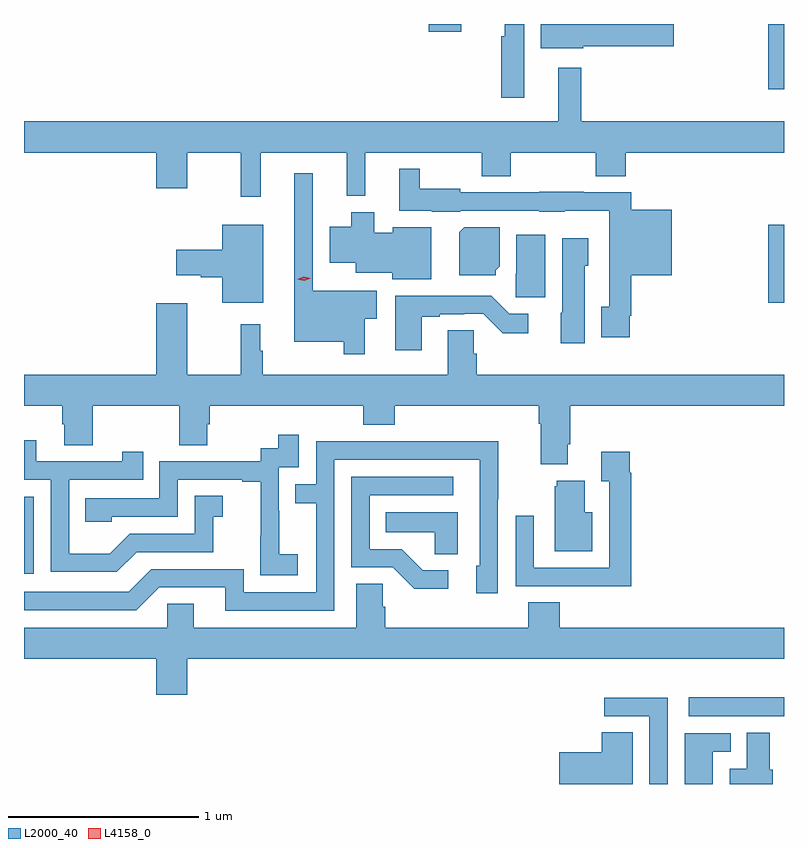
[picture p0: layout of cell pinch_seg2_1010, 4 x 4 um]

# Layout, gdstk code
import gdstk
lib = gdstk.Library(unit=1e-6, precision=1e-09)
def R(c, l, rs):  # rectangles x0, y0, x1, y1
    for r in rs: c.add(gdstk.rectangle(r[:2], r[2:], *l))
def P(c, l, *ps):  # polygons
    for p in ps: c.add(gdstk.Polygon(p, *l))
L2000_40 = (2000, 40)
L4158_0 = (4158, 0)

pinch_seg2_1010 = lib.new_cell('pinch_seg2_1010')
R(pinch_seg2_1010, L2000_40, [(335.643,611.369,336.144,611.47), (332.144,612.12,332.196,612.525), (336.062,613.547,336.144,613.957), (336.062,614.67,336.144,615.013), (334.274,614.973,334.444,615.013)])
P(pinch_seg2_1010, L2000_40, [(335.088,614.896),(335.563,614.896),(335.563,615.013),(334.865,615.013),(334.865,614.885),(335.088,614.885)],
  [(334.777,615.013),(334.673,615.013),(334.673,614.949),(334.656,614.949),(334.656,614.625),(334.777,614.625)],
  [(333.389,614.336),(333.842,614.336),(333.842,614.108),(333.941,614.108),(333.941,614.336),(334.552,614.336),(334.552,614.212),(334.707,614.212),(334.707,614.336),(335.152,614.336),(335.152,614.212),(335.312,614.212),(335.312,614.336),(336.144,614.336),(336.144,614.5),(335.077,614.5),(335.077,614.782),(334.955,614.782),(334.955,614.5),(332.144,614.5),(332.144,614.336),(332.84,614.336),(332.84,614.148),(333.004,614.148),(333.004,614.336),(333.286,614.336),(333.286,614.103),(333.389,614.103)],
  [(335.332,613.477),(335.339,613.477),(335.339,613.691),(335.554,613.691),(335.554,614.035),(335.339,614.035),(335.339,614.127),(335.089,614.127),(335.089,614.129),(334.857,614.129),(334.857,614.127),(334.44,614.127),(334.44,614.146),(334.228,614.146),(334.228,614.251),(334.118,614.251),(334.118,614.03),(334.29,614.03),(334.29,614.024),(334.44,614.024),(334.44,614.031),(334.857,614.031),(334.857,614.024),(334.989,614.024),(334.989,614.03),(335.223,614.03),(335.223,613.526),(335.183,613.526),(335.183,613.365),(335.332,613.365)],
  [(333.937,613.462),(334,613.462),(334,613.609),(333.663,613.609),(333.663,614.227),(333.566,614.227),(333.566,613.34),(333.828,613.34),(333.828,613.275),(333.937,613.275)],
  [(334.288,613.942),(334.086,613.942),(334.086,613.915),(333.988,613.915),(333.988,614.023),(333.866,614.023),(333.866,613.945),(333.752,613.945),(333.752,613.757),(333.89,613.757),(333.89,613.703),(334.082,613.703),(334.082,613.67),(334.288,613.67)],
  [(333.403,613.957),(333.188,613.957),(333.188,613.826),(332.946,613.826),(332.946,613.691),(333.075,613.691),(333.075,613.679),(333.188,613.679),(333.188,613.547),(333.403,613.547)],
  [(334.626,613.716),(334.648,613.738),(334.648,613.942),(334.462,613.942),(334.436,613.916),(334.436,613.691),(334.626,613.691)],
  [(334.888,613.903),(334.736,613.903),(334.736,613.698),(334.732,613.698),(334.732,613.575),(334.888,613.575)],
  [(335.095,613.74),(335.113,613.74),(335.113,613.885),(334.976,613.885),(334.976,613.494),(334.97,613.494),(334.97,613.332),(335.095,613.332)],
  [(334.237,613.473),(334.333,613.473),(334.333,613.485),(334.46,613.485),(334.46,613.488),(334.56,613.488),(334.663,613.386),(334.798,613.386),(334.798,613.488),(334.698,613.488),(334.604,613.582),(334.097,613.582),(334.097,613.296),(334.237,613.296)],
  [(335.005,612.802),(335.018,612.802),(335.018,613.004),(336.144,613.004),(336.144,613.168),(334.526,613.168),(334.526,613.278),(334.512,613.278),(334.512,613.4),(334.373,613.4),(334.373,613.168),(333.4,613.168),(333.4,613.292),(333.388,613.292),(333.388,613.432),(333.286,613.432),(333.286,613.168),(333.004,613.168),(333.004,613.543),(332.84,613.543),(332.84,613.168),(332.144,613.168),(332.144,613.004),(332.345,613.004),(332.345,612.906),(332.357,612.906),(332.357,612.796),(332.505,612.796),(332.505,613.004),(332.962,613.004),(332.962,612.796),(333.109,612.796),(333.109,612.906),(333.122,612.906),(333.122,613.004),(333.929,613.004),(333.929,612.905),(334.094,612.905),(334.094,613.004),(334.853,613.004),(334.853,612.908),(334.865,612.908),(334.865,612.695),(335.005,612.695)],
  [(333.586,612.223),(333.488,612.223),(333.488,612.452),(333.486,612.452),(333.486,612.681),(333.591,612.681),(333.591,612.85),(333.483,612.85),(333.483,612.78),(333.39,612.78),(333.39,612.711),(332.856,612.711),(332.856,612.516),(332.467,612.516),(332.467,612.393),(332.607,612.393),(332.607,612.42),(332.952,612.42),(332.952,612.615),(333.293,612.615),(333.293,612.603),(333.389,612.603),(333.389,612.319),(333.388,612.319),(333.388,612.113),(333.586,612.113)],
  [(332.737,612.234),(333.141,612.234),(333.141,612.419),(333.19,612.419),(333.19,612.529),(333.042,612.529),(333.042,612.33),(332.7,612.33),(332.596,612.226),(332.382,612.226),(332.382,612.615),(332.771,612.615),(332.771,612.763),(332.66,612.763),(332.66,612.711),(332.209,612.711),(332.209,612.823),(332.144,612.823),(332.144,612.615),(332.286,612.615),(332.286,612.129),(332.632,612.129)],
  [(333.777,612.72),(334.542,612.72),(334.542,612.162),(334.523,612.162),(334.523,612.018),(334.638,612.018),(334.638,612.511),(334.641,612.511),(334.641,612.818),(334.177,612.818),(334.177,612.816),(333.681,612.816),(333.681,612.591),(333.571,612.591),(333.571,612.49),(333.681,612.49),(333.681,612.021),(333.3,612.021),(333.3,612.144),(332.814,612.144),(332.694,612.024),(332.144,612.024),(332.144,611.928),(332.736,611.928),(332.856,612.048),(333.203,612.048),(333.203,611.925),(333.777,611.925)],
  [(335.339,612.65),(335.332,612.65),(335.332,612.763),(335.183,612.763),(335.183,612.607),(335.223,612.607),(335.223,612.15),(334.827,612.15),(334.827,612.424),(334.731,612.424),(334.731,612.054),(335.047,612.054),(335.047,612.053),(335.339,612.053)],
  [(334.378,612.138),(334.243,612.138),(334.132,612.249),(333.963,612.249),(333.963,612.534),(334.402,612.534),(334.402,612.63),(333.867,612.63),(333.867,612.153),(334.086,612.153),(334.199,612.041),(334.378,612.041)],
  [(335.134,612.442),(335.095,612.442),(335.095,612.61),(334.949,612.61),(334.949,612.579),(334.937,612.579),(334.937,612.239),(335.134,612.239)],
  [(334.426,612.442),(334.048,612.442),(334.048,612.338),(334.305,612.338),(334.305,612.223),(334.426,612.223)],
  [(336.144,611.836),(334.964,611.836),(334.964,611.969),(334.799,611.969),(334.799,611.836),(334.046,611.836),(334.046,611.945),(334.032,611.945),(334.032,612.068),(333.893,612.068),(333.893,611.836),(333.037,611.836),(333.037,611.963),(332.898,611.963),(332.898,611.836),(332.144,611.836),(332.144,611.672),(332.84,611.672),(332.84,611.484),(333.004,611.484),(333.004,611.672),(336.144,611.672)],
  [(335.532,611.468),(335.199,611.468),(335.199,611.37),(335.436,611.37),(335.436,611.013),(335.532,611.013)],
  [(335.347,611.285),(335.186,611.285),(335.186,611.18),(334.962,611.18),(334.962,611.013),(335.347,611.013)],
  [(336.085,611.088),(336.07,611.088),(336.07,611.284),(335.948,611.284),(335.948,611.092),(335.858,611.092),(335.858,611.013),(336.085,611.013)],
  [(335.77,611.184),(335.863,611.184),(335.863,611.28),(335.621,611.28),(335.621,611.013),(335.77,611.013)])
P(pinch_seg2_1010, L4158_0, [(333.618,613.663),(333.582,613.67),(333.581,613.67),(333.582,613.67),(333.616,613.683),(333.652,613.675),(333.653,613.675),(333.652,613.675)])

lib.write_gds('pinch_seg2_1010.gds')
